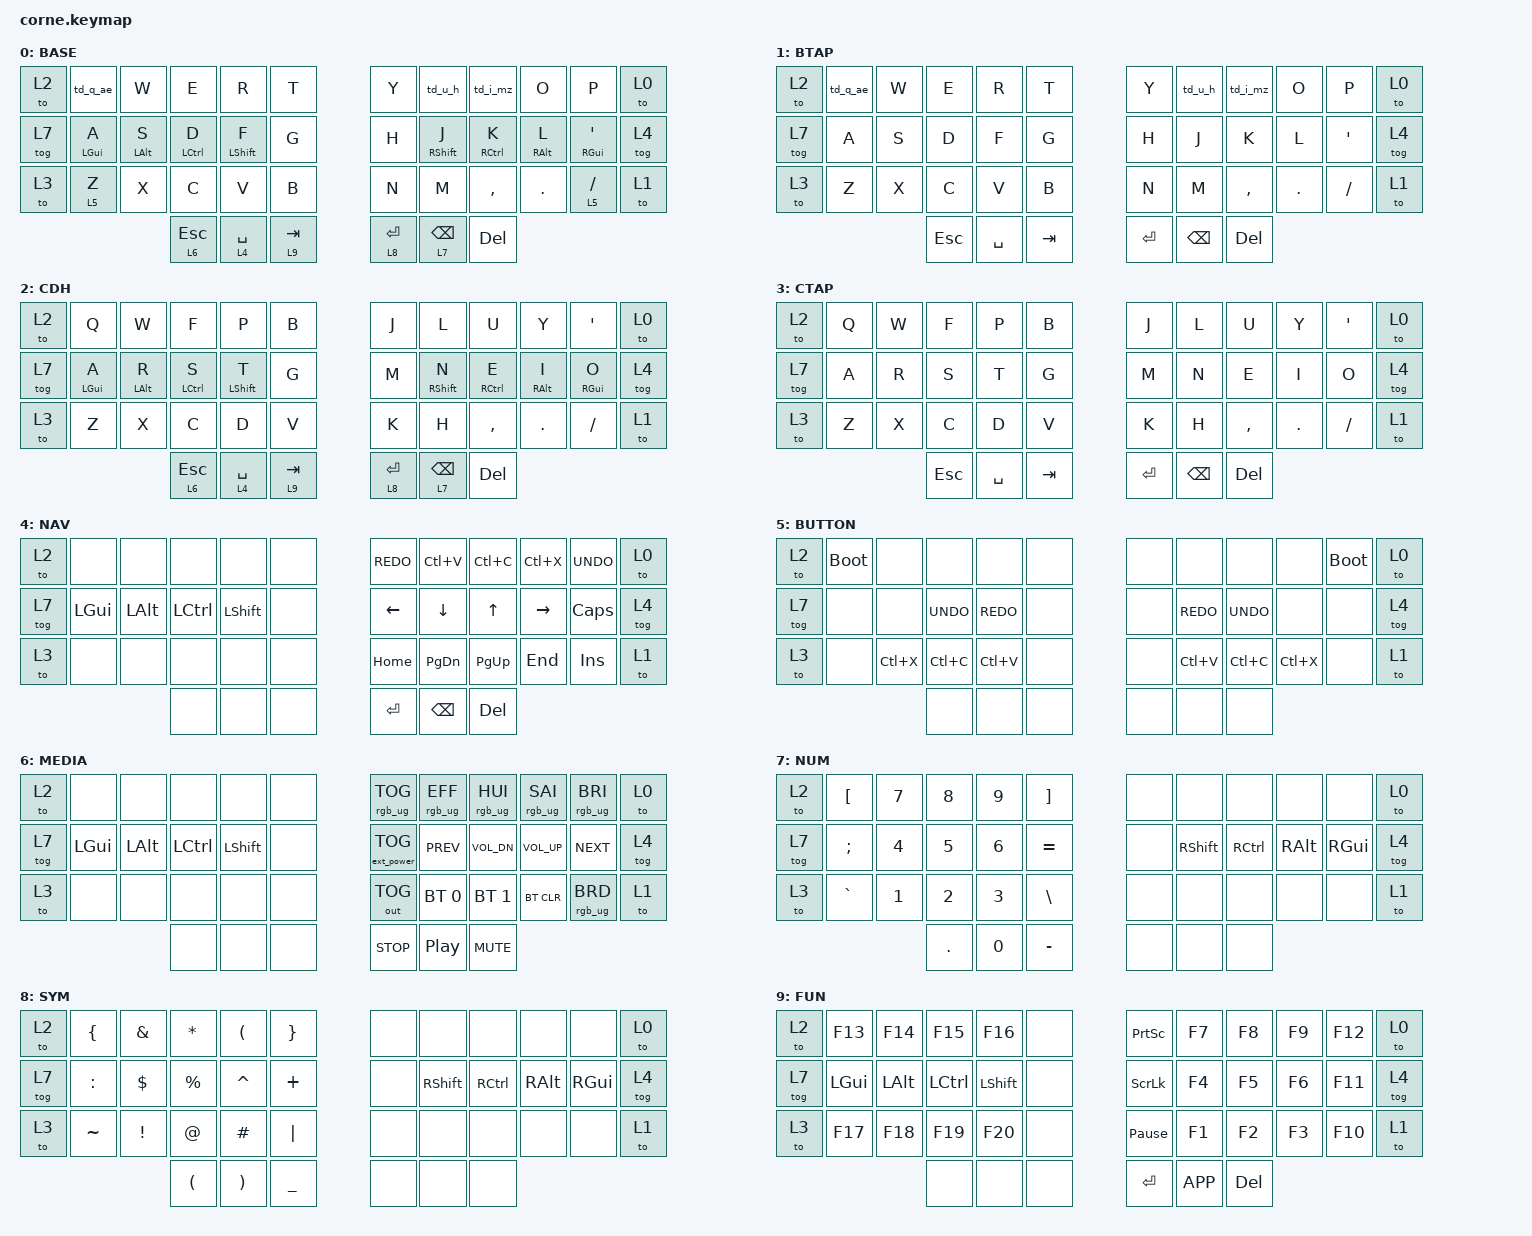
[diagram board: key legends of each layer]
/*
 * Copyright (c) 2020 The ZMK Contributors
 *
 * SPDX-License-Identifier: MIT
 */

#include <behaviors.dtsi>
#include <dt-bindings/zmk/keys.h>
#include <dt-bindings/zmk/bt.h>
#include <dt-bindings/zmk/ext_power.h>
#include <dt-bindings/zmk/outputs.h>
#include <dt-bindings/zmk/rgb.h>
 
/ {
    behaviors {
    // Й / Ж
        td_q_ae: td_q_ae {
        compatible = "zmk,behavior-tap-dance";
        #binding-cells = <0>;
        tapping-term-ms = <200>;
        bindings = <&kp Q>, <&kp SEMI>;
    };
    // Г / Х
        td_u_h: td_u_h {
        compatible = "zmk,behavior-tap-dance";
        #binding-cells = <0>;
        tapping-term-ms = <200>;
        bindings = <&kp U>, <&kp LBKT>;
        };
    // Ш / Ъ
        td_i_mz: td_i_mz {
        compatible = "zmk,behavior-tap-dance";
        #binding-cells = <0>;
        tapping-term-ms = <200>;
        bindings = <&kp I>, <&kp RBKT>;
        };
        hml: home_row_mod_left {
            compatible = "zmk,behavior-hold-tap";
            #binding-cells = <2>;
            flavor = "balanced";
            require-prior-idle-ms = <150>;
            tapping-term-ms = <280>;
            quick-tap-ms = <175>;
            bindings = <&kp>, <&kp>;
            hold-trigger-key-positions = <6 7 8 9 10 11 18 19 20 21 22 23 30 31 32 33 34 35 39 40 41>;
            hold-trigger-on-release;
        };
        hmr: home_row_mod_right {
            compatible = "zmk,behavior-hold-tap";
            #binding-cells = <2>;
            flavor = "balanced";
            require-prior-idle-ms = <150>;
            tapping-term-ms = <280>;
            quick-tap-ms = <175>;
            bindings = <&kp>, <&kp>;
            hold-trigger-key-positions = <0 1 2 3 4 5 12 13 14 15 16 17 24 25 26 27 28 29 36 37 38>;
            hold-trigger-on-release;
        };
    };
 
        keymap {
                compatible = "zmk,keymap";
 
                base_layer { // Layer O
                    display-name = "BASE";
// -----------------------------------------------------------------------------------------
// | (CDH)  | Q          | W        | E         | R         | T |   | Y | U          | I         | O        | P             | (BASE) |
// | (NUM)  | A (LGUI)   | S (LALT) | D (LCTRL) | F (LSHFT) | G |   | H | J (RSHFT) | K (RCTRL) | L (RALT) | SQT (RGUI)    | (NAV)  |
// | (CTAP) | Z (BUTTON) | X        | C         | V         | B |   | N | M          | COMMA     | DOT      | FSLH (BUTTON) | (BTAP) |
//                        | ESC (MEDIA) | SPC (NAV) | TAB (FUN) |   | RET (SYM) | BSPC (NUM) | DEL |
                        bindings = <
   &to 2    &td_q_ae     &kp W       &kp E        &kp R        &kp T   &kp Y &td_u_h       &td_i_mz         &kp O         &kp P         &to 0
   &tog 7  &hml LGUI A &hml LALT S &hml LCTRL D &hml LSHFT F &kp G   &kp H &hmr RSHFT J  &hmr RCTRL K     &hmr RALT L   &hmr RGUI SQT &tog 4
   &to 3    &lt 5 Z     &kp X       &kp C        &kp V        &kp B   &kp N &kp M         &kp COMMA        &kp DOT       &lt 5 FSLH    &to 1
                                        &lt 6 ESC &lt 4 SPC &lt 9 TAB   &lt 8 RET &lt 7 BSPC &kp DEL
                        >;
                };
 
                btap_layer { // Layer 1
                    display-name = "BTAP";
// -----------------------------------------------------------------------------------------
// |  (CDH)   |  Q  |  W  |  E  |  R  |  T  |   |  Y  |  U  |  I     |  O    |  P      |  (BASE)  |
// |  (NUM)   |  A  |  S  |  D  |  F  |  G  |   |  H  |  J  |  K     |  L    |  SQT    |  (NAV)   |
// |  (CTAP)  |  Z  |  X  |  C  |  V  |  B  |   |  N  |  M  |  COMMA |  DOT  |  FSLH   |  (BTAP)  |
//                        | ESC | SPC | TAB |   | RET | BSPC | DEL |
                        bindings = <
   &to 2   &td_q_ae &kp W &kp E &kp R &kp T   &kp Y &td_u_h &td_i_mz  &kp O   &kp P    &to 0
   &tog 7  &kp A    &kp S &kp D &kp F &kp G   &kp H &kp J   &kp K     &kp L   &kp SQT  &tog 4
   &to 3   &kp Z    &kp X &kp C &kp V &kp B   &kp N &kp M   &kp COMMA &kp DOT &kp FSLH &to 1
                      &kp ESC &kp SPC &kp TAB   &kp RET &kp BSPC &kp DEL
                        >;
                };
 
                cdh_layer { // Layer 2
                    display-name = "CDH";
// -----------------------------------------------------------------------------------------
// | (CDH)  | Q          | W        | F         | P         | B |   | J | L         | U         | Y        | SQT           | (BASE) |
// | (NUM)  | A (LGUI)   | R (LALT) | S (LCTRL) | T (LSHFT) | G |   | M | N (RSHFT) | E (RCTRL) | I (RALT) | O (RGUI)      | (NAV)  |
// | (CTAP) | Z (BUTTON) | X        | C         | D         | V |   | K | H         | COMMA     | DOT      | FSLH (BUTTON) | (BTAP) |
//                      | ESC (MEDIA) | SPC (NAV) | TAB (FUN) |   | RET (SYM) | BSPC (NUM) | DEL |
                        bindings = <
   &to 2  &kp Q       &kp W       &kp F        &kp P        &kp B   &kp J &kp L        &kp U        &kp Y       &kp SQT     &to 0
   &tog 7 &hml LGUI A &hml LALT R &hml LCTRL S &hml LSHFT T &kp G   &kp M &hmr RSHFT N &hmr RCTRL E &hmr RALT I &hmr RGUI O &tog 4
   &to 3  &kp Z       &kp X       &kp C        &kp D        &kp V   &kp K &kp H        &kp COMMA    &kp DOT     &kp FSLH    &to 1
                                      &lt 6 ESC &lt 4 SPC &lt 9 TAB   &lt 8 RET &lt 7 BSPC &kp DEL
                        >;
                };
 
                ctap_layer { // Layer 3
                    display-name = "CTAP";
// -----------------------------------------------------------------------------------------
// |  (CDH)   |  Q  |  W  |  F  |  P  |  B  |   |  J  |  L  |  U      |  Y    |  SQT  |  (BASE)  |
// |  (NUM)   |  A  |  R  |  S  |  T  |  G  |   |  M  |  N  |  E      |  I    |  O    |  (NAV)   |
// |  (CTAP)  |  Z  |  X  |  C  |  D  |  V  |   |  K  |  H  |  COMMA  |  DOT  |  FSLH |  (BTAP)  |
//                        | ESC | SPC | TAB |   | ENT | BSPC | DEL |
                        bindings = <
   &to 2  &kp Q    &kp W &kp F &kp P &kp B   &kp J &kp L  &kp U     &kp Y   &kp SQT  &to 0
   &tog 7 &kp A    &kp R &kp S &kp T &kp G   &kp M &kp N  &kp E     &kp I   &kp O    &tog 4
   &to 3  &kp Z    &kp X &kp C &kp D &kp V   &kp K &kp H  &kp COMMA &kp DOT &kp FSLH &to 1
                     &kp ESC &kp SPC &kp TAB   &kp RET &kp BSPC &kp DEL
                        >;
                };
 
                navigation_layer { // Layer 4
                    display-name = "NAV";
// -----------------------------------------------------------------------------------------
// | (CDH)  |      |      |       |       |    |   | K_REDO | LC(V) | LC(C) | LC(X) | K_UNDO | (BASE) |
// | (NUM)  | LGUI | LALT | LCTRL | LSHFT |    |   | LEFT   | DOWN  | UP    | RIGHT | CLCK   | (NAV)  |
// | (CTAP) |      |      |       |       |    |   | HOME   | PG_DN | PG_UP | END   | INS    | (BTAP) |
//                              |    |    |    |   | ENT | BSPC | DEL |
                        bindings = <
   &to 2  &none    &none    &none     &none     &none    &kp K_REDO &kp LC(V) &kp LC(C) &kp LC(X) &kp K_UNDO &to 0
   &tog 7 &kp LGUI &kp LALT &kp LCTRL &kp LSHFT &none    &kp LEFT   &kp DOWN  &kp UP    &kp RIGHT &kp CLCK   &tog 4
   &to 3  &none    &none    &none     &none     &none    &kp HOME   &kp PG_DN &kp PG_UP &kp END   &kp INS    &to 1
                                    &none &none &none    &kp RET &kp BSPC &kp DEL
                        >;
                };
 
                button_layer { // Layer 5
                    display-name = "BUTTON";
// -----------------------------------------------------------------------------------------
// | (CDH)  | BOOT |       |        |        |    |   |    |        |        |       | BOOT | (BASE) |
// | (NUM)  |      |       | K_UNDO | K_REDO |    |   |    | K_REDO | K_UNDO |       |      | (NAV)  |
// | (CTAP) |      | LC(X) | LC(C)  | LC(V)  |    |   |    | LC(V)  | LC(C)  | LC(X) |      | (BTAP) |
//                                 |    |    |    |   |    |    |    |
                        bindings = <
   &to 2  &bootloader &none     &none      &none      &none   &none &none      &none      &none     &bootloader &to 0
   &tog 7 &none       &none     &kp K_UNDO &kp K_REDO &none   &none &kp K_REDO &kp K_UNDO &none     &none       &tog 4
   &to 3  &none       &kp LC(X) &kp LC(C)  &kp LC(V)  &none   &none &kp LC(V)  &kp LC(C)  &kp LC(X) &none       &to 1
                                          &none &none &none   &none &none &none
                        >;
                };
 
                media_layer { // Layer 6
                    display-name = "MEDIA";
// -----------------------------------------------------------------------------------------
// | (CDH)  |      |      |       |       |    |   | RGB_TOG | RGB_EFF  | RGB_HUI  | RGB_SAI  | RGB_BRI | (BASE) |
// | (NUM)  | LGUI | LALT | LCTRL | LSHFT |    |   | EP_TOG  | K_PREV   | C_VOL_DN | C_VOL_UP | C_NEXT  | (NAV)  |
// | (CTAP) |      |      |       |       |    |   | OUT_TOG | BT_SEL 0 | BT_SEL 1 | BT_CLR   | RGB_BRD | (BTAP) |
//                              |    |    |    |   | C_STOP | C_PP | C_MUTE |
                        bindings = <
   &to 2  &none    &none    &none     &none     &none   &rgb_ug RGB_TOG   &rgb_ug RGB_EFF  &rgb_ug RGB_HUI &rgb_ug RGB_SAI &rgb_ug RGB_BRI &to 0
   &tog 7 &kp LGUI &kp LALT &kp LCTRL &kp LSHFT &none   &ext_power EP_TOG &kp K_PREV       &kp C_VOL_DN    &kp C_VOL_UP    &kp C_NEXT      &tog 4
   &to 3  &none    &none    &none     &none     &none   &out OUT_TOG      &bt BT_SEL 0     &bt BT_SEL 1    &bt BT_CLR      &rgb_ug RGB_BRD &to 1
                                    &none &none &none   &kp C_STOP &kp C_PP &kp C_MUTE
                        >;
                };
 
                num_layer { // Layer 7
                    display-name = "NUM";
// -----------------------------------------------------------------------------------------
// | (CDH)  | LBKT  | N7 | N8 | N9 | RBKT  |   |    |       |       |      |      | (BASE) |
// | (NUM)  | SEMI  | N4 | N5 | N6 | EQUAL |   |    | RSHFT | RCTRL | RALT | RGUI | (NAV)  |
// | (CTAP) | GRAVE | N1 | N2 | N3 | BSLH  |   |    |       |       |      |      | (BTAP) |
//                      | DOT | N0 | MINUS |   |    |    |    |
                        bindings = <
   &to 2  &kp LBKT  &kp N7 &kp N8 &kp N9 &kp RBKT   &none &none     &none     &none    &none    &to 0
   &tog 7 &kp SEMI  &kp N4 &kp N5 &kp N6 &kp EQUAL  &none &kp RSHFT &kp RCTRL &kp RALT &kp RGUI &tog 4
   &to 3  &kp GRAVE &kp N1 &kp N2 &kp N3 &kp BSLH   &none &none     &none     &none    &none    &to 1
                  &kp DOT &kp N0 &kp MINUS   &none &none &none
                        >;
                };
 
                sym_layer { // Layer 8
                    display-name = "SYM";
// -----------------------------------------------------------------------------------------
// | (CDH)  | LBRC  | AMPS | ASTRK | LPAR  | RBRC |   |    |       |       |      |      | (BASE) |
// | (NUM)  | COLON | DLLR | PRCNT | CARET | PLUS |   |    | RSHFT | RCTRL | RALT | RGUI | (NAV)  |
// | (CTAP) | TILDE | EXCL | AT    | HASH  | PIPE |   |    |       |       |      |      | (BTAP) |
//                      | LPAR | RPAR | UNDER |   |   |    |    |
                        bindings = <
   &to 2  &kp LBRC  &kp AMPS &kp ASTRK &kp LPAR  &kp RBRC   &none &none     &none     &none    &none    &to 0
   &tog 7 &kp COLON &kp DLLR &kp PRCNT &kp CARET &kp PLUS   &none &kp RSHFT &kp RCTRL &kp RALT &kp RGUI &tog 4
   &to 3  &kp TILDE &kp EXCL &kp AT    &kp HASH  &kp PIPE   &none &none     &none     &none    &none    &to 1
                              &kp LPAR &kp RPAR &kp UNDER   &none &none &none
                        >;
                };
 
                fun_layer { // Layer 9
                    display-name = "FUN";
// -----------------------------------------------------------------------------------------
// | (CDH)  | F13  | F14  | F15   | F16   |    |   | PSCRN       | F7 | F8 | F9 | F12 | (BASE) |
// | (NUM)  | LGUI | LALT | LCTRL | LSHFT |    |   | SLCK        | F4 | F5 | F6 | F11 | (NAV)  |
// | (CTAP) | F17  | F18  | F19   | F20   |    |   | PAUSE_BREAK | F1 | F2 | F3 | F10 | (BTAP) |
//                              |    |    |    |   | RET | K_APP | DELL |
                        bindings = <
   &to 2  &kp F13  &kp F14  &kp F15   &kp F16   &none   &kp PSCRN       &kp F7 &kp F8 &kp F9 &kp F12 &to 0
   &tog 7 &kp LGUI &kp LALT &kp LCTRL &kp LSHFT &none   &kp SLCK        &kp F4 &kp F5 &kp F6 &kp F11 &tog 4
   &to 3  &kp F17  &kp F18  &kp F19   &kp F20   &none   &kp PAUSE_BREAK &kp F1 &kp F2 &kp F3 &kp F10 &to 1
                                    &none &none &none   &kp RET &kp K_APP &kp DEL
                        >;
                };
        };
};
